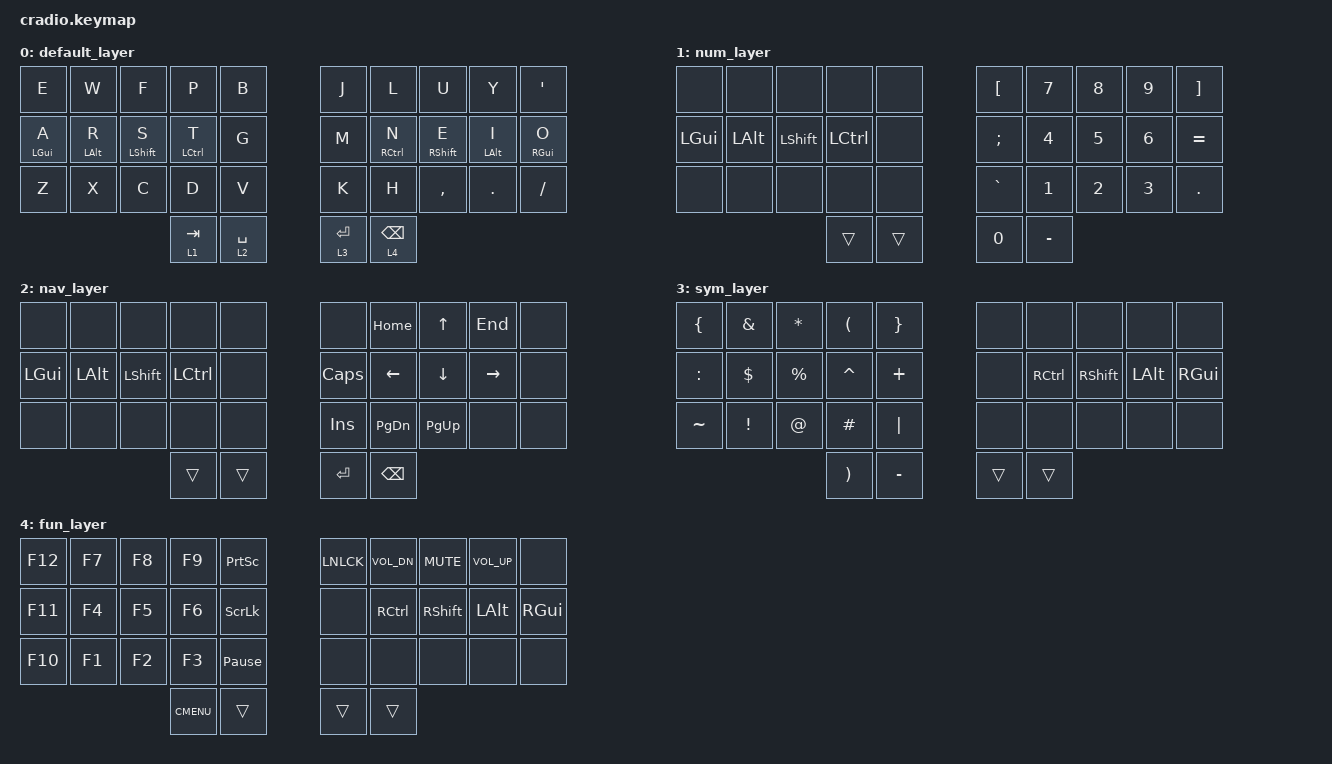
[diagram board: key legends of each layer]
/*
 * Copyright (c) 2020 The ZMK Contributors
 *
 * SPDX-License-Identifier: MIT
 */

#include <behaviors.dtsi>
#include <dt-bindings/zmk/keys.h>
#include <dt-bindings/zmk/bt.h>


&mt {
  //  flavor = "tap-preferred";
   // tapping_term_ms = <190>;
};

/ { 

    behaviors {
        hm: homerow_mods {
            compatible = "zmk,behavior-hold-tap";
            label = "HOMEROW_MODS";
            #binding-cells = <2>;
            tapping-term-ms = <190>;
            quick_tap_ms = <0>;
            flavor = "tap-preferred";
            bindings = <&kp>, <&kp>;
        };
    };

    combos {
        compatible = "zmk,combos";
        combo_esc {
            timeout-ms = <50>;
            key-positions = <1 2>;
            bindings = <&kp ESC>;
        };

         combo_ent {
            timeout-ms = <50>;
            key-positions = <2 3>;
            bindings = <&kp RET>;
        };
	
	combo_del {
            timeout-ms = <50>;
            key-positions = <7 8>;
            bindings = <&kp DEL>;
        };
	
         combo_caps {
            timeout-ms = <50>;
            key-positions = <21 22>;
            bindings = <&kp CAPS>;
        };  
	
         combo_leftwin {
            timeout-ms = <50>;
            key-positions = <26 27>;
            bindings = <&kp LG(LEFT)>;
        };        

         combo_rightwin {
            timeout-ms = <50>;
            key-positions = <27 28>;
            bindings = <&kp LG(RIGHT)>;
        };        

    };

        keymap {
                compatible = "zmk,keymap";
                
       		default_layer {
		bindings = <
		&kp E       &kp W     &kp F       &kp P       &kp B 			&kp J &kp L        &kp U          &kp Y        &kp SQT
		&hm LGUI A &hm LALT R &hm LSHFT S &hm LCTRL T &kp G 	       	        &kp M &hm RCTRL N  &hm RSHFT E    &hm LALT I   &hm RGUI O
		&kp Z       &kp X     &kp C       &kp D       &kp V	        	&kp K &kp H        &kp CMMA       &kp DOT      &kp SLASH
          			  		  &lt 1 TAB   &lt 2 SPACE  		&lt 3 RET &lt 4 BSPC
		>;
		};

		num_layer {
		bindings = <
		&none    &none    &none     &none     &none				&kp LBKT  &kp N7 &kp N8 &kp N9 &kp RBKT
		&kp LGUI &kp LALT &kp LSHFT &kp LCTRL &none 				&kp SEMI  &kp N4 &kp N5 &kp N6 &kp EQUAL
		&none    &none    &none     &none     &none				&kp GRAVE &kp N1 &kp N2 &kp N3 &kp DOT
					    &trans    &trans  				&kp N0 &kp MINUS
		>;
		};
		
		nav_layer {
		bindings = <
		&none    &none    &none     &none     &none	    			&none    &kp HOME  &kp UP    &kp END   &none
		&kp LGUI &kp LALT &kp LSHFT &kp LCTRL &none 				&kp CAPS &kp LEFT  &kp DOWN  &kp RIGHT &none
		&none    &none    &none     &none     &none	    			&kp INS  &kp PG_DN &kp PG_UP &none     &none
					    &trans    &trans   				&kp RET  &kp BSPC
		>;
		};	
		
		sym_layer {
		bindings = <
		&kp LBRC  &kp AMPS &kp ASTRK &kp LPAR  &kp RBRC 			&none     &none     &none     &none    &none
		&kp COLON &kp DLLR &kp PRCNT &kp CARET &kp PLUS  			&none     &kp RCTRL &kp RSHFT &kp LALT &kp RGUI
		&kp TILDE &kp EXCL &kp AT    &kp HASH  &kp PIPE   			&none     &none     &none     &none    &none
					     &kp RPAR  &kp MINUS  			&trans    &trans
		>;
		};	

		fun_layer {
		bindings = <
		&kp F12 &kp F7 &kp F8 &kp F9 &kp PSCRN 					&kp LNLCK &kp C_VOL_DN &kp C_MUTE &kp C_VOL_UP &none
		&kp F11 &kp F4 &kp F5 &kp F6 &kp SLCK  					&none     &kp RCTRL    &kp RSHFT  &kp LALT     &kp RGUI
		&kp F10 &kp F1 &kp F2 &kp F3 &kp PAUSE_BREAK   				&none     &none        &none      &none        &none
					 &kp K_CMENU &trans  				&trans    &trans
		>;
		};	

	};
};
